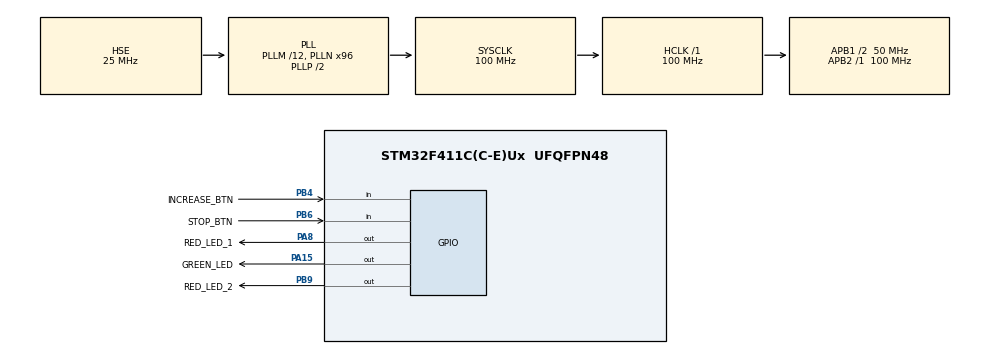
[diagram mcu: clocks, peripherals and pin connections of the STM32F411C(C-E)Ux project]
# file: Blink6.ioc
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Mcu.Family=STM32F4
Mcu.Name=STM32F411C(C-E)Ux
Mcu.Package=UFQFPN48
NVIC.PriorityGroup=NVIC_PRIORITYGROUP_4
PA13.Mode=Serial_Wire
PA13.Signal=SYS_JTMS-SWDIO
PA14.Mode=Serial_Wire
PA14.Signal=SYS_JTCK-SWCLK
PA15.GPIO_Label=GREEN_LED
PA15.Signal=GPIO_Output
PA8.GPIO_Label=RED_LED_1
PA8.Signal=GPIO_Output
PB4.GPIO_Label=INCREASE_BTN
PB4.GPIO_PuPd=GPIO_PULLUP
PB4.Signal=GPIO_Input
PB6.GPIO_Label=STOP_BTN
PB6.GPIO_PuPd=GPIO_PULLUP
PB6.Signal=GPIO_Input
PB9.GPIO_Label=RED_LED_2
PB9.Signal=GPIO_Output
PC14-OSC32_IN.Mode=LSE-External-Oscillator
PC14-OSC32_IN.Signal=RCC_OSC32_IN
PC15-OSC32_OUT.Mode=LSE-External-Oscillator
PC15-OSC32_OUT.Signal=RCC_OSC32_OUT
PH0\ -\ OSC_IN.Mode=HSE-External-Oscillator
PH0\ -\ OSC_IN.Signal=RCC_OSC_IN
PH1\ -\ OSC_OUT.Mode=HSE-External-Oscillator
PH1\ -\ OSC_OUT.Signal=RCC_OSC_OUT
ProjectManager.HeapSize=0x200
ProjectManager.StackSize=0x400
ProjectManager.TargetToolchain=STM32CubeIDE
RCC.48MHZClocksFreq_Value=50000000
RCC.AHBFreq_Value=100000000
RCC.APB1CLKDivider=RCC_HCLK_DIV2
RCC.APB1Freq_Value=50000000
RCC.APB1TimFreq_Value=100000000
RCC.APB2Freq_Value=100000000
RCC.APB2TimFreq_Value=100000000
RCC.CortexFreq_Value=100000000
RCC.HCLKFreq_Value=100000000
RCC.HSE_VALUE=25000000
RCC.HSI_VALUE=16000000
RCC.PLLM=12
RCC.PLLN=96
RCC.PLLSourceVirtual=RCC_PLLSOURCE_HSE
RCC.SYSCLKFreq_VALUE=100000000
RCC.SYSCLKSource=RCC_SYSCLKSOURCE_PLLCLK
RCC.VCOOutputFreq_Value=200000000
board=custom

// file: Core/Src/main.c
/* USER CODE BEGIN Header */
/**
  ******************************************************************************
  * @file           : main.c
  * @brief          : Main program body
  ******************************************************************************
  * @attention
  *
  * Copyright (c) 2026 STMicroelectronics.
  * All rights reserved.
  *
  * This software is licensed under terms that can be found in the LICENSE file
  * in the root directory of this software component.
  * If no LICENSE file comes with this software, it is provided AS-IS.
  *
  ******************************************************************************
  */
/* USER CODE END Header */
#include "main.h"

/* USER CODE BEGIN PTD */
typedef struct {
	GPIO_TypeDef *port;
	uint8_t increaseLvl;
	const uint16_t pin;
	uint32_t lastChangeTimestampMs;
} Led;

typedef struct Button Button;
typedef void (*ButtonHandler)(Button *btn);

struct Button {
	GPIO_TypeDef *port;
	const uint16_t pin;
	const ButtonHandler onPress;
	bool pressed;
	bool lastRaw;
	uint32_t lastChangeMS;
	Led *const *const leds;
	const uint8_t ledsCount;
};

/* USER CODE END PTD */

void SystemClock_Config(void);
static void MX_GPIO_Init(void);
/* USER CODE BEGIN PFP */

static void button_update(Button *b);
static void on_increase_press(Button *b);
static void on_stop_press(Button *b);

/* USER CODE END PFP */

/* USER CODE BEGIN 0 */
const uint8_t INTERVAL_MS = 100;
const uint8_t DEBOUNCE_MS = 30;
const uint8_t MAX_INCREASE_LVL = 10;
const uint16_t STOP_INTERVAL_MS = 2000;

const uint8_t LED_COUNT = 3;
static Led leds[] = {
		{ .pin =  RED_LED_1_Pin, .port = RED_LED_1_GPIO_Port, .increaseLvl = 2 },
		{ .pin =  GREEN_LED_Pin, .port = GREEN_LED_GPIO_Port, .increaseLvl = 5 },
		{ .pin =  RED_LED_2_Pin, .port = RED_LED_2_GPIO_Port, .increaseLvl = 10 },
};

static Led *const increase_leds[] = { &leds[0] };
static Led *const all_leds[] = { &leds[0], &leds[1], &leds[2] };

const uint8_t BUTTONS_COUNT = 2;
static Button buttons[] = {
		{
				.pin = INCREASE_BTN_Pin,
				.port = INCREASE_BTN_GPIO_Port,
				.onPress = on_increase_press,
				.leds = increase_leds,
				.ledsCount = 1
		},
		{
				.pin = STOP_BTN_Pin,
				.port = STOP_BTN_GPIO_Port,
				.onPress = on_stop_press,
				.leds = all_leds,
				.ledsCount = 3,
		},
};

bool allStoped = false;
uint32_t allStopedAtMs = 0;
/* USER CODE END 0 */

int main(void)
{

  /* USER CODE BEGIN 1 */
	// set all leds off
	for(size_t i = 0; i < LED_COUNT; i ++) {
		HAL_GPIO_WritePin(leds[i].port, leds[i].pin, GPIO_PIN_RESET);
	}
  /* USER CODE END 1 */

  /* MCU Configuration--------------------------------------------------------*/

  /* Reset of all peripherals, Initializes the Flash interface and the Systick. */
  HAL_Init();

  /* Configure the system clock */
  SystemClock_Config();

  /* Initialize all configured peripherals */
  MX_GPIO_Init();

  /* Infinite loop */
  /* USER CODE BEGIN WHILE */
  while (1)
  {
	  uint32_t now = HAL_GetTick();

	  if (allStoped && now - allStopedAtMs >= STOP_INTERVAL_MS) {
		  allStoped = false;
	  } else if (!allStoped) {
		  for(size_t i = 0; i < LED_COUNT; i ++) {
			  if (now - leds[i].lastChangeTimestampMs >= INTERVAL_MS * leds[i].increaseLvl) {
				  leds[i].lastChangeTimestampMs = now;
				  HAL_GPIO_TogglePin(leds[i].port, leds[i].pin);
			  }
		  }
	  }

	  for (size_t i = 0; i < BUTTONS_COUNT; i++) {
		  button_update(&buttons[i]);
	  }
    /* USER CODE END WHILE */

  }
}

void SystemClock_Config(void)
{
  RCC_OscInitTypeDef RCC_OscInitStruct = {0};
  RCC_ClkInitTypeDef RCC_ClkInitStruct = {0};

  /** Configure the main internal regulator output voltage
  */
  __HAL_RCC_PWR_CLK_ENABLE();
  __HAL_PWR_VOLTAGESCALING_CONFIG(PWR_REGULATOR_VOLTAGE_SCALE1);

  /** Initializes the RCC Oscillators according to the specified parameters
  * in the RCC_OscInitTypeDef structure.
  */
  RCC_OscInitStruct.OscillatorType = RCC_OSCILLATORTYPE_HSE;
  RCC_OscInitStruct.HSEState = RCC_HSE_ON;
  RCC_OscInitStruct.PLL.PLLState = RCC_PLL_ON;
  RCC_OscInitStruct.PLL.PLLSource = RCC_PLLSOURCE_HSE;
  RCC_OscInitStruct.PLL.PLLM = 12;
  RCC_OscInitStruct.PLL.PLLN = 96;
  RCC_OscInitStruct.PLL.PLLP = RCC_PLLP_DIV2;
  RCC_OscInitStruct.PLL.PLLQ = 4;
  if (HAL_RCC_OscConfig(&RCC_OscInitStruct) != HAL_OK)
  {
    Error_Handler();
  }

  /** Initializes the CPU, AHB and APB buses clocks
  */
  RCC_ClkInitStruct.ClockType = RCC_CLOCKTYPE_HCLK|RCC_CLOCKTYPE_SYSCLK
                              |RCC_CLOCKTYPE_PCLK1|RCC_CLOCKTYPE_PCLK2;
  RCC_ClkInitStruct.SYSCLKSource = RCC_SYSCLKSOURCE_PLLCLK;
  RCC_ClkInitStruct.AHBCLKDivider = RCC_SYSCLK_DIV1;
  RCC_ClkInitStruct.APB1CLKDivider = RCC_HCLK_DIV2;
  RCC_ClkInitStruct.APB2CLKDivider = RCC_HCLK_DIV1;

  if (HAL_RCC_ClockConfig(&RCC_ClkInitStruct, FLASH_LATENCY_3) != HAL_OK)
  {
    Error_Handler();
  }
}

static void MX_GPIO_Init(void)
{
  GPIO_InitTypeDef GPIO_InitStruct = {0};

  /* GPIO Ports Clock Enable */
  __HAL_RCC_GPIOC_CLK_ENABLE();
  __HAL_RCC_GPIOH_CLK_ENABLE();
  __HAL_RCC_GPIOA_CLK_ENABLE();
  __HAL_RCC_GPIOB_CLK_ENABLE();

  /*Configure GPIO pin Output Level */
  HAL_GPIO_WritePin(GPIOA, RED_LED_1_Pin|GREEN_LED_Pin, GPIO_PIN_RESET);

  /*Configure GPIO pin Output Level */
  HAL_GPIO_WritePin(RED_LED_2_GPIO_Port, RED_LED_2_Pin, GPIO_PIN_RESET);

  /*Configure GPIO pins : RED_LED_1_Pin GREEN_LED_Pin */
  GPIO_InitStruct.Pin = RED_LED_1_Pin|GREEN_LED_Pin;
  GPIO_InitStruct.Mode = GPIO_MODE_OUTPUT_PP;
  GPIO_InitStruct.Pull = GPIO_NOPULL;
  GPIO_InitStruct.Speed = GPIO_SPEED_FREQ_LOW;
  HAL_GPIO_Init(GPIOA, &GPIO_InitStruct);

  /*Configure GPIO pins : INCREASE_BTN_Pin STOP_BTN_Pin */
  GPIO_InitStruct.Pin = INCREASE_BTN_Pin|STOP_BTN_Pin;
  GPIO_InitStruct.Mode = GPIO_MODE_INPUT;
  GPIO_InitStruct.Pull = GPIO_PULLUP;
  HAL_GPIO_Init(GPIOB, &GPIO_InitStruct);

  /*Configure GPIO pin : RED_LED_2_Pin */
  GPIO_InitStruct.Pin = RED_LED_2_Pin;
  GPIO_InitStruct.Mode = GPIO_MODE_OUTPUT_PP;
  GPIO_InitStruct.Pull = GPIO_NOPULL;
  GPIO_InitStruct.Speed = GPIO_SPEED_FREQ_LOW;
  HAL_GPIO_Init(RED_LED_2_GPIO_Port, &GPIO_InitStruct);

}

/* USER CODE BEGIN 4 */

static void button_update(Button *b) {
	bool raw = HAL_GPIO_ReadPin(b->port, b->pin);
	uint32_t now = HAL_GetTick();

	if (raw != b->lastRaw) {
		b->lastRaw = raw;
		b->lastChangeMS = now;
		return;
	}

	if (raw != b->pressed && now - b->lastChangeMS >= DEBOUNCE_MS) {
		b->pressed = raw;
		if (b->pressed) {
			b->onPress(b);
		}
	}
}

static void on_increase_press(Button *b) {
	for (size_t i = 0; i < b->ledsCount; i++) {
		uint8_t currntLvl = b->leds[i]->increaseLvl;
		b->leds[i]->increaseLvl = (currntLvl + 1) % MAX_INCREASE_LVL;
	}
}

static void on_stop_press(Button *b) {
	allStoped = true;
	allStopedAtMs = HAL_GetTick();

	for (size_t i = 0; i < b->ledsCount; i++) {
		HAL_GPIO_WritePin(b->leds[i]->port, b->leds[i]->pin, GPIO_PIN_RESET);
	}
}

/* USER CODE END 4 */

void Error_Handler(void)
{
  __disable_irq();
  while (1)
  {
  }
}
